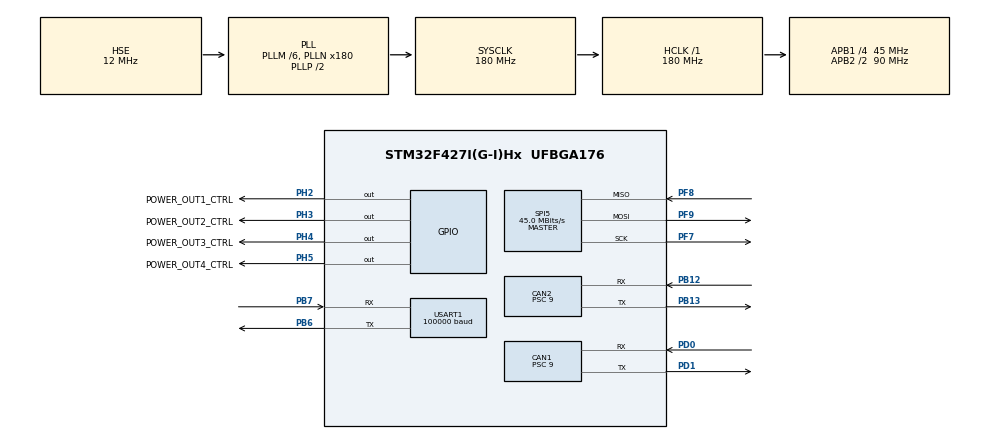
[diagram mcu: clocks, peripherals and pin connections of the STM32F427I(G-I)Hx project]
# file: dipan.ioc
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CAN1.BS1=CAN_BS1_3TQ
CAN1.CalculateBaudRate=1000000
CAN1.CalculateTimeBit=1000
CAN1.CalculateTimeQuantum=200.0
CAN1.Prescaler=9
CAN2.BS1=CAN_BS1_3TQ
CAN2.CalculateBaudRate=1000000
CAN2.CalculateTimeBit=1000
CAN2.CalculateTimeQuantum=200.0
CAN2.Prescaler=9
Mcu.Family=STM32F4
Mcu.Name=STM32F427I(G-I)Hx
Mcu.Package=UFBGA176
NVIC.CAN1_RX0_IRQn=true\:2\:0\:true\:false\:true\:true\:true\:true
NVIC.CAN2_RX0_IRQn=true\:2\:0\:true\:false\:true\:true\:true\:true
NVIC.PriorityGroup=NVIC_PRIORITYGROUP_4
NVIC.TIM4_IRQn=true\:3\:0\:true\:false\:true\:true\:true\:true
NVIC.USART1_IRQn=true\:1\:0\:true\:false\:true\:true\:true\:true
PA13.Mode=Serial_Wire
PA13.Signal=SYS_JTMS-SWDIO
PA14.Mode=Serial_Wire
PA14.Signal=SYS_JTCK-SWCLK
PB12.Mode=CAN_Activate
PB12.Signal=CAN2_RX
PB13.Mode=CAN_Activate
PB13.Signal=CAN2_TX
PB6.Mode=Asynchronous
PB6.Signal=USART1_TX
PB7.Mode=Asynchronous
PB7.Signal=USART1_RX
PD0.Mode=CAN_Activate
PD0.Signal=CAN1_RX
PD1.Mode=CAN_Activate
PD1.Signal=CAN1_TX
PF7.Mode=Full_Duplex_Master
PF7.Signal=SPI5_SCK
PF8.Mode=Full_Duplex_Master
PF8.Signal=SPI5_MISO
PF9.Mode=Full_Duplex_Master
PF9.Signal=SPI5_MOSI
PH0/OSC_IN.Mode=HSE-External-Oscillator
PH0/OSC_IN.Signal=RCC_OSC_IN
PH1/OSC_OUT.Mode=HSE-External-Oscillator
PH1/OSC_OUT.Signal=RCC_OSC_OUT
PH2.GPIO_Label=POWER_OUT1_CTRL
PH2.GPIO_PuPd=GPIO_NOPULL
PH2.GPIO_Speed=GPIO_SPEED_FREQ_LOW
PH2.PinState=GPIO_PIN_RESET
PH2.Signal=GPIO_Output
PH3.GPIO_Label=POWER_OUT2_CTRL
PH3.GPIO_PuPd=GPIO_NOPULL
PH3.GPIO_Speed=GPIO_SPEED_FREQ_LOW
PH3.PinState=GPIO_PIN_RESET
PH3.Signal=GPIO_Output
PH4.GPIO_Label=POWER_OUT3_CTRL
PH4.GPIO_PuPd=GPIO_NOPULL
PH4.GPIO_Speed=GPIO_SPEED_FREQ_LOW
PH4.PinState=GPIO_PIN_RESET
PH4.Signal=GPIO_Output
PH5.GPIO_Label=POWER_OUT4_CTRL
PH5.GPIO_PuPd=GPIO_NOPULL
PH5.GPIO_Speed=GPIO_SPEED_FREQ_LOW
PH5.PinState=GPIO_PIN_RESET
PH5.Signal=GPIO_Output
ProjectManager.HeapSize=0x200
ProjectManager.StackSize=0x400
ProjectManager.TargetToolchain=CMake
RCC.48MHZClocksFreq_Value=90000000
RCC.AHBFreq_Value=180000000
RCC.APB1CLKDivider=RCC_HCLK_DIV4
RCC.APB1Freq_Value=45000000
RCC.APB1TimFreq_Value=90000000
RCC.APB2CLKDivider=RCC_HCLK_DIV2
RCC.APB2Freq_Value=90000000
RCC.APB2TimFreq_Value=180000000
RCC.CortexFreq_Value=180000000
RCC.HCLKFreq_Value=180000000
RCC.HSE_VALUE=12000000
RCC.HSI_VALUE=16000000
RCC.LSE_VALUE=32768
RCC.PLLM=6
RCC.PLLN=180
RCC.PLLSourceVirtual=RCC_PLLSOURCE_HSE
RCC.SYSCLKFreq_VALUE=180000000
RCC.SYSCLKSource=RCC_SYSCLKSOURCE_PLLCLK
RCC.VCOOutputFreq_Value=360000000
SPI5.CLKPhase=SPI_PHASE_2EDGE
SPI5.CLKPolarity=SPI_POLARITY_HIGH
SPI5.CalculateBaudRate=45.0 MBits/s
SPI5.Direction=SPI_DIRECTION_2LINES
SPI5.Mode=SPI_MODE_MASTER
SPI5.VirtualType=VM_MASTER
TIM4.Period=2000
TIM4.Prescaler=89
USART1.BaudRate=100000
USART1.Parity=PARITY_EVEN
USART1.VirtualMode=VM_ASYNC
USART1.WordLength=WORDLENGTH_9B
VP_TIM4_VS_ClockSourceINT.Mode=Internal
board=custom

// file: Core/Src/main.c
/* USER CODE BEGIN Header */
/**
  ******************************************************************************
  * @file           : main.c
  * @brief          : Main program body
  ******************************************************************************
  * @attention
  *
  * Copyright (c) 2026 STMicroelectronics.
  * All rights reserved.
  *
  * This software is licensed under terms that can be found in the LICENSE file
  * in the root directory of this software component.
  * If no LICENSE file comes with this software, it is provided AS-IS.
  *
  ******************************************************************************
  */
/* USER CODE END Header */
#include "main.h"
#include "can.h"
#include "spi.h"
#include "tim.h"
#include "usart.h"
#include "gpio.h"

/* USER CODE BEGIN Includes */
#include "mpu6500.h"
/* USER CODE END Includes */

/* USER CODE BEGIN PTD */
#define DT7_control 100
/* USER CODE END PTD */

void SystemClock_Config(void);

/* USER CODE BEGIN 0 */
typedef struct {
  uint16_t ecd;//编码器值
  int16_t speed;//速度
  int16_t current;//电流
  uint8_t tem;//温度
}Motor_data;
Motor_data Motor[6];//1到4是底盘电机，5是水平云台电机，6是垂直云台电机
int Fact[4];//读取遥控器值
int horizontal_angle;//水平电机编码器值
int vertical_angle;//垂直编码器值
uint8_t Rx_uart[18];//从遥控器读取的原始数据
int x;//遥控器水平值 -660到660
int y;//遥控器垂直值，x,y管云台
int P;//摇杆水平值
int Q;//摇杆垂直值，P,Q管底盘
int Flag_x;
int Flag_y;
float  a;//对应x发送给电机值
float b;//对应y发送给电机值
float c,d;//底盘发送的速度值c是Vx，d是Vy
PID_TypeDef yaw;//偏航角闭环参数
PID_TypeDef encoder;//垂直编码器闭环参数
PID_TypeDef h_encoder;//水平编码器闭环参数
PID_TypeDef motor[4];
float Yaw;//实际偏航角
float target_yaw;//目标偏航角
float target_encoder;//目标位置
float target_yaw_encoder;//水平目标位置(打杆时累加)
float target_y_encoder;//垂直目标位置(打杆时累加)
float k=0.0062;//摇杆增加系数
int o;//用来设置开机垂直目标值只用一次
float K;//麦轮系数
float Wz=0;//麦轮Z轴角速度(归一化系数，和c/d同量级)，由DT7左拨杆S1给值
float Target_speed[4];//四个底盘电机目标转速
int16_t Out[4];
int rx_left;
int ry_left;
int rx_right;
int ry_right;
int S1;//DT7左边拨杆: 1=上 2=中 3=下
int16_t Speed_1;
int16_t Speed_2;
int16_t Speed_3;
int16_t Speed_4;
/* USER CODE END 0 */

int main(void)
{

  /* MCU Configuration--------------------------------------------------------*/

  /* Reset of all peripherals, Initializes the Flash interface and the Systick. */
  HAL_Init();

  /* Configure the system clock */
  SystemClock_Config();

  /* Initialize all configured peripherals */
  MX_GPIO_Init();
  MX_CAN1_Init();
  MX_SPI5_Init();
  MX_TIM4_Init();
  MX_USART1_UART_Init();
  MX_CAN2_Init();
  /* USER CODE BEGIN 2 */
  BOARD_PowerOutputsInit();
  BOARD_PowerOutputSet(2U, ENABLE);//开启A板24V输出

HAL_CAN_Start( &hcan1);
  HAL_CAN_Start( &hcan2);
  __HAL_UART_CLEAR_PEFLAG(&huart1);
  (void)HAL_UARTEx_ReceiveToIdle_IT(&huart1, Rx_uart ,sizeof(Rx_uart));
  (void)HAL_CAN_ActivateNotification(&hcan1, CAN_IT_RX_FIFO0_MSG_PENDING);
  (void)HAL_CAN_ActivateNotification(&hcan2, CAN_IT_RX_FIFO0_MSG_PENDING);
MPU6500_Init() ;
  Yaw = MPU6500_GetYaw();
  target_yaw = MPU6500_GetYaw();

  yaw.Kp =250;
  yaw.Kd=1.5;
  yaw.integral_control =5000;
  encoder.Kp =40;
  encoder.Kd =0.5;
  encoder.integral_control =5000;
  h_encoder.Kp =40;
  h_encoder.Kd =0.5;
  h_encoder.integral_control =5000;
  motor[0].Kp = 3.0f;
  motor[0].Ki = 0.05f;
  motor[0].Kd = 0.0f;
  motor[0].integral_control = 10000.0f;
  motor[1].Kp = 3.0f;
  motor[1].Ki = 0.05f;
  motor[1].Kd = 0.0f;
  motor[1].integral_control = 10000.0f;
  motor[2].Kp = 3.0f;
  motor[2].Ki = 0.05f;
  motor[2].Kd = 0.0f;
  motor[2].integral_control = 10000.0f;
  motor[3].Kp = 3.0f;
  motor[3].Ki = 0.05f;
  motor[3].Kd = 0.0f;
  motor[3].integral_control = 10000.0f;
  o=vertical_angle ;
  target_encoder=o;
  (void)HAL_TIM_Base_Start_IT(&htim4);
  /* USER CODE END 2 */

  /* Infinite loop */
  while (1)
  {

    /* USER CODE BEGIN 3 */
    MPU6500_UpdateYaw();
    Yaw = MPU6500_GetYaw();
  }
  /* USER CODE END 3 */
}

void SystemClock_Config(void)
{
  RCC_OscInitTypeDef RCC_OscInitStruct = {0};
  RCC_ClkInitTypeDef RCC_ClkInitStruct = {0};

  /** Configure the main internal regulator output voltage
  */
  __HAL_RCC_PWR_CLK_ENABLE();
  __HAL_PWR_VOLTAGESCALING_CONFIG(PWR_REGULATOR_VOLTAGE_SCALE1);

  /** Initializes the RCC Oscillators according to the specified parameters
  * in the RCC_OscInitTypeDef structure.
  */
  RCC_OscInitStruct.OscillatorType = RCC_OSCILLATORTYPE_HSE;
  RCC_OscInitStruct.HSEState = RCC_HSE_ON;
  RCC_OscInitStruct.PLL.PLLState = RCC_PLL_ON;
  RCC_OscInitStruct.PLL.PLLSource = RCC_PLLSOURCE_HSE;
  RCC_OscInitStruct.PLL.PLLM = 6;
  RCC_OscInitStruct.PLL.PLLN = 180;
  RCC_OscInitStruct.PLL.PLLP = RCC_PLLP_DIV2;
  RCC_OscInitStruct.PLL.PLLQ = 4;
  if (HAL_RCC_OscConfig(&RCC_OscInitStruct) != HAL_OK)
  {
    Error_Handler();
  }

  /** Activate the Over-Drive mode
  */
  if (HAL_PWREx_EnableOverDrive() != HAL_OK)
  {
    Error_Handler();
  }

  /** Initializes the CPU, AHB and APB buses clocks
  */
  RCC_ClkInitStruct.ClockType = RCC_CLOCKTYPE_HCLK|RCC_CLOCKTYPE_SYSCLK
                              |RCC_CLOCKTYPE_PCLK1|RCC_CLOCKTYPE_PCLK2;
  RCC_ClkInitStruct.SYSCLKSource = RCC_SYSCLKSOURCE_PLLCLK;
  RCC_ClkInitStruct.AHBCLKDivider = RCC_SYSCLK_DIV1;
  RCC_ClkInitStruct.APB1CLKDivider = RCC_HCLK_DIV4;
  RCC_ClkInitStruct.APB2CLKDivider = RCC_HCLK_DIV2;

  if (HAL_RCC_ClockConfig(&RCC_ClkInitStruct, FLASH_LATENCY_5) != HAL_OK)
  {
    Error_Handler();
  }
}

/* USER CODE BEGIN 4 */

float PID(PID_TypeDef* pid, float target, float actual)
{
  pid->err = target - actual;

  if (pid == &yaw)
  {
    if (pid->err > 180.0f)
    {
      pid->err -= 360.0f;
    }
    if (pid->err < -180.0f)
    {
      pid->err += 360.0f;
    }
  }

  if (pid == &encoder || pid == &h_encoder)
  {
    if (pid->err > 4096.0f)
    {
      pid->err -= 8192.0f;
    }
    if (pid->err < -4096.0f)
    {
      pid->err += 8192.0f;
    }
  }

  pid->integral += pid->err;
  if (pid->integral > pid->integral_control)
  {
    pid->integral = pid->integral_control;
  }
  if (pid->integral < -pid->integral_control)
  {
    pid->integral = -pid->integral_control;
  }

  float output = pid->Kp * pid->err + pid->integral * pid->Ki
               + pid->Kd * (pid->err - pid->err_last);
  pid->err_last = pid->err;
  return output;
}

void CAN_Send(uint32_t id,int16_t v1, int16_t v2, int16_t v3, int16_t v4)
{

  uint8_t data[8];
  CAN_TxHeaderTypeDef tx_header = {0};
  tx_header.StdId = id;
  uint32_t mailbox = 0U;

  data[0] = (uint8_t)(v1 >> 8);
  data[1] = (uint8_t)v1;
  data[2] = (uint8_t)(v2 >> 8);
  data[3] = (uint8_t)v2;
  data[4] = (uint8_t)(v3 >> 8);
  data[5] = (uint8_t)v3;
  data[6] = (uint8_t)(v4 >> 8);
  data[7] = (uint8_t)v4;

  tx_header.IDE = CAN_ID_STD;
  tx_header.RTR = CAN_RTR_DATA;
  tx_header.DLC = 8;
  tx_header.TransmitGlobalTime = DISABLE;
if (id==0x1FF) {
  (void)HAL_CAN_AddTxMessage(&hcan1, &tx_header, data, &mailbox);
}
  if (id==0x200) {
    (void)HAL_CAN_AddTxMessage(&hcan2, &tx_header, data, &mailbox);
  }
}

void HAL_CAN_RxFifo0MsgPendingCallback(CAN_HandleTypeDef* hcan)
{
  CAN_RxHeaderTypeDef rx_header;
  uint8_t rx_data[8];
  /* 回调是 CAN1/CAN2 共用的，必须用传进来的 hcan：
     读错实例会让 CAN2 的 FIFO0 永远排不空，RF0N 一直置位，
     CPU 反复进出 CAN2 中断，把优先级更低的 TIM4 饿死。 */
  if (HAL_CAN_GetRxMessage(hcan, CAN_RX_FIFO0, &rx_header, rx_data) != HAL_OK)
  {
    return;
  }
  if (hcan->Instance == CAN1)
  {
    if (rx_header.StdId == 0x205)
    {
      horizontal_angle = (int16_t)((rx_data[0] << 8) | rx_data[1]);
    }
    else if (rx_header.StdId == 0x206)
    {
      vertical_angle = (int16_t)((rx_data[0] << 8) | rx_data[1]);
    }

  }

  if (hcan->Instance == CAN2) {
     if (rx_header.StdId == 0x201) {
      Motor[0].ecd=(rx_data[0]<<8)|rx_data[1];
      Motor[0].speed=(rx_data[2]<<8)|rx_data[3];
      Motor[0].current=(rx_data[4]<<8)|rx_data[5];
      Motor[0].tem=rx_data[6];
    }//左上
    else if (rx_header.StdId == 0x202) {
      Motor[1].ecd=(rx_data[0]<<8)|rx_data[1];
      Motor[1].speed=(rx_data[2]<<8)|rx_data[3];
      Motor[1].current=(rx_data[4]<<8)|rx_data[5];
      Motor[1].tem=rx_data[6];

    }//右上
    else if (rx_header.StdId == 0x203) {
      Motor[2].ecd=(rx_data[0]<<8)|rx_data[1];
      Motor[2].speed=(rx_data[2]<<8)|rx_data[3];
      Motor[2].current=(rx_data[4]<<8)|rx_data[5];
      Motor[2].tem=rx_data[6];
    }//左下
    else if (rx_header.StdId == 0x204) {
      Motor[3].ecd=(rx_data[0]<<8)|rx_data[1];
      Motor[3].speed=(rx_data[2]<<8)|rx_data[3];
      Motor[3].current=(rx_data[4]<<8)|rx_data[5];
      Motor[3].tem=rx_data[6];
    }//右下
  }

}

void DBUS_code(void)
{

  Fact[0] = (Rx_uart[1] << 8 | Rx_uart[0]) & 0x07FF;
  Fact[1] = (Rx_uart[2] << 5 | Rx_uart[1] >> 3) & 0x07FF;
  Fact[2] = (Rx_uart[2] >> 6 | Rx_uart[3] << 2 | Rx_uart[4] << 10) & 0x07FF;
  Fact[3] = (Rx_uart[4] >> 1 | Rx_uart[5] << 7) & 0x07FF;
  rx_left=Fact[2];
  ry_left=Fact[3];
  rx_right=Fact[0];
  ry_right=Fact[1];
  S1 = (Rx_uart[5] >> 4) & 0x03;//DT7左边拨杆(S1)在bit44~45，即第6字节的bit4~5
}

void HAL_UARTEx_RxEventCallback(UART_HandleTypeDef* huart, uint16_t Size)
{
  if (huart->Instance != USART1)
  {
    return;
  }

  if (Size == sizeof(Rx_uart))
  {
    DBUS_code();
    x = -Fact[2] + 1024;
    y = -Fact[3]+1024;
    Q=(-Fact[0]+1024)*0.3;
    P=(-Fact[1]+1024)*0.3;

    /* 左拨杆控制自转：上档反转，中档不转，下档正转 */
    if (S1 == 1)
    {
      Wz = -0.1f;
    }
    else if (S1 == 2)
    {
      Wz = 0.0f;
    }
    else if (S1 == 3)
    {
      Wz = 0.1f;
    }
  }

  if (x > DT7_control || x < -DT7_control)
  {
    if (Flag_x == 0)
    {
      target_yaw_encoder = horizontal_angle;//从静止切入打杆，目标对齐当前编码器
    }
    Flag_x = 1;
  }
  else
  {
    if (Flag_x == 1)
    {
      yaw.integral = 0;
      yaw.err_last = 0;
      target_yaw = Yaw;
    }
    Flag_x = 0;
  }

  if (y > DT7_control || y < -DT7_control)
  {
    if (Flag_y == 0)
    {
      target_y_encoder = vertical_angle;//从静止切入打杆，目标对齐当前编码器
    }
    Flag_y = 1;
  }
  else
  {
    if (Flag_y == 1)
    {
      encoder.integral = 0;
      encoder.err_last = 0;
      target_encoder = vertical_angle;
    }
    Flag_y = 0;
  }

  __HAL_UART_CLEAR_PEFLAG(huart);
  (void)HAL_UARTEx_ReceiveToIdle_IT(huart, Rx_uart, sizeof(Rx_uart));
}

void HAL_UART_ErrorCallback(UART_HandleTypeDef* huart)
{
  if (huart->Instance != USART1)
  {
    return;
  }

  __HAL_UART_CLEAR_PEFLAG(huart);
  (void)HAL_UARTEx_ReceiveToIdle_IT(huart, Rx_uart, sizeof(Rx_uart));
}

void HAL_TIM_PeriodElapsedCallback(TIM_HandleTypeDef* htim)
{
  int16_t horizontal_out;
  int16_t vertical_out;

  if (htim->Instance != TIM4)
  {
    return;
  }

  if (Flag_x == 1)
  {
    target_yaw_encoder += x*k;//打杆：摇杆量当编码器目标增量
    a = PID(&h_encoder, target_yaw_encoder, horizontal_angle);
  }
  else
  {
    a = PID(&yaw, target_yaw, Yaw);
  }

  if (Flag_y == 1)
  {
    target_y_encoder += y*k;
    b = PID(&encoder, target_y_encoder, vertical_angle);
  }
  else
  {
    b = PID(&encoder, target_encoder, vertical_angle);
  }

  /* 云台输出限幅：GM6020 电压模式满量程 ±30000，先给 ±10000，不够再加 */
  if (a > 10000.0f)  { a = 10000.0f; }
  if (a < -10000.0f) { a = -10000.0f; }
  if (b > 10000.0f)  { b = 10000.0f; }
  if (b < -10000.0f) { b = -10000.0f; }

  horizontal_out = (int16_t)a;
  vertical_out = (int16_t)b;

  c = -(float)P / 660  ;//Vy
  d = -(float)Q / 660  ;//Vx
Target_speed[0]=(d+c+Wz)*2000;//左前

  Target_speed[1]=-(d-c-Wz)*2000;//右前

  Target_speed[2]=(d-c+Wz)*2000;//左后

Target_speed[3]=-(d+c-Wz)*2000;//右后

  Speed_1=Motor[0].speed;//右前
 Speed_2 =Motor[1].speed;//左前
  Speed_3 =Motor[2].speed;//左后
  Speed_4 =Motor[3].speed;//右后
  float LF=PID(&motor[0], Target_speed[0],Motor[1].speed );
  float RF=PID(&motor[1], Target_speed[1],Motor[2].speed );
  float LB=PID(&motor[2], Target_speed[2],Motor[0].speed );
  float RB=PID(&motor[3], Target_speed[3],Motor[3].speed );
  if (RF>10000) {
    RF=10000;
  }
  if (RF<-10000) {
    RF=-10000;
  }

  if (LF>10000) {
    LF=10000;
  }
  if (LF<-10000) {
    LF=-10000;
  }

  if (LB>10000) {
    LB=10000;
  }
  if (LB<-10000) {
    LB=-10000;
  }

  if (RB>10000) {
    RB=10000;
  }
  if (RB<-10000) {
    RB=-10000;
  }
  Out[1]=(int16_t)LF;
  Out[2]=(int16_t)RF;
  Out[0]=(int16_t)LB;
  Out[3]=(int16_t)RB;

  //
  // if ((horizontal_angle < 3000 && horizontal_out < 0)
  //     || (horizontal_angle > 6000 && horizontal_out > 0))
  // {
  //   horizontal_out = 0;
  // }
  // if ((vertical_angle < 800 && vertical_out < 0)
  //     || (vertical_angle > 8000 && vertical_out > 0))
  // {
  //   vertical_out = 0;
  // }

  CAN_Send(0x1FF,horizontal_out, vertical_out, 0, 0);
 CAN_Send(0x200,Out[0] ,Out[1], Out[2], Out[3]);
}

/* USER CODE END 4 */

void Error_Handler(void)
{
  __disable_irq();
  while (1)
  {
  }
}
